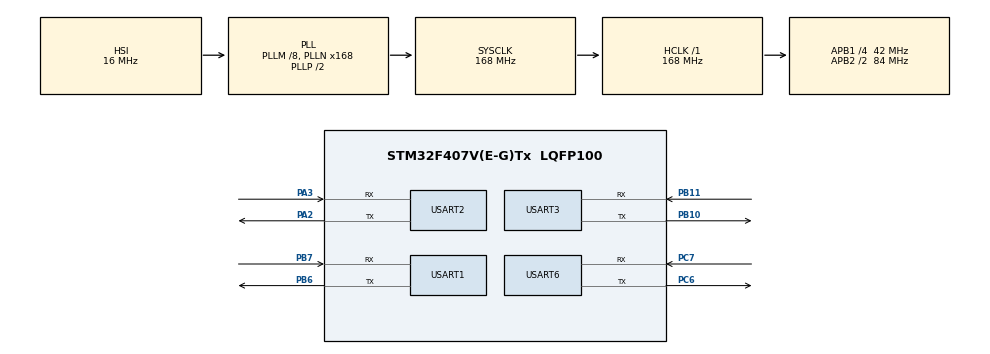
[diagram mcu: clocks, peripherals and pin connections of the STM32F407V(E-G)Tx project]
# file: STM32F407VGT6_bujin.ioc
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FREERTOS.Tasks01=defaultTask,24,128,StartDefaultTask,Default,NULL,Dynamic,NULL,NULL
Mcu.Family=STM32F4
Mcu.Name=STM32F407V(E-G)Tx
Mcu.Package=LQFP100
NVIC.PriorityGroup=NVIC_PRIORITYGROUP_4
NVIC.USART1_IRQn=true\:5\:0\:false\:false\:true\:true\:true\:true\:true
NVIC.USART2_IRQn=true\:5\:0\:false\:false\:true\:true\:true\:true\:true
NVIC.USART3_IRQn=true\:5\:0\:false\:false\:true\:true\:true\:true\:true
NVIC.USART6_IRQn=true\:5\:0\:false\:false\:true\:true\:true\:true\:true
PA13.Mode=Serial_Wire
PA13.Signal=SYS_JTMS-SWDIO
PA14.Mode=Serial_Wire
PA14.Signal=SYS_JTCK-SWCLK
PA2.Mode=Asynchronous
PA2.Signal=USART2_TX
PA3.Mode=Asynchronous
PA3.Signal=USART2_RX
PB10.Mode=Asynchronous
PB10.Signal=USART3_TX
PB11.Mode=Asynchronous
PB11.Signal=USART3_RX
PB6.Mode=Asynchronous
PB6.Signal=USART1_TX
PB7.Mode=Asynchronous
PB7.Signal=USART1_RX
PC14-OSC32_IN.Mode=LSE-External-Oscillator
PC14-OSC32_IN.Signal=RCC_OSC32_IN
PC15-OSC32_OUT.Mode=LSE-External-Oscillator
PC15-OSC32_OUT.Signal=RCC_OSC32_OUT
PC6.Mode=Asynchronous
PC6.Signal=USART6_TX
PC7.Mode=Asynchronous
PC7.Signal=USART6_RX
PH0-OSC_IN.Mode=HSE-External-Oscillator
PH0-OSC_IN.Signal=RCC_OSC_IN
PH1-OSC_OUT.Mode=HSE-External-Oscillator
PH1-OSC_OUT.Signal=RCC_OSC_OUT
ProjectManager.HeapSize=0x200
ProjectManager.StackSize=0x400
ProjectManager.TargetToolchain=MDK-ARM V5.32
RCC.48MHZClocksFreq_Value=84000000
RCC.AHBFreq_Value=168000000
RCC.APB1CLKDivider=RCC_HCLK_DIV4
RCC.APB1Freq_Value=42000000
RCC.APB1TimFreq_Value=84000000
RCC.APB2CLKDivider=RCC_HCLK_DIV2
RCC.APB2Freq_Value=84000000
RCC.APB2TimFreq_Value=168000000
RCC.CortexFreq_Value=168000000
RCC.HCLKFreq_Value=168000000
RCC.HSE_VALUE=25000000
RCC.HSI_VALUE=16000000
RCC.PLLM=8
RCC.PLLN=168
RCC.SYSCLKFreq_VALUE=168000000
RCC.SYSCLKSource=RCC_SYSCLKSOURCE_PLLCLK
RCC.VCOOutputFreq_Value=336000000
USART1.VirtualMode=VM_ASYNC
USART2.VirtualMode=VM_ASYNC
USART3.VirtualMode=VM_ASYNC
USART6.VirtualMode=VM_ASYNC
VP_FREERTOS_VS_CMSIS_V2.Mode=CMSIS_V2
board=custom

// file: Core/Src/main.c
/* USER CODE BEGIN Header */
/**
  ******************************************************************************
  * @file           : main.c
  * @brief          : Main program body
  ******************************************************************************
  * @attention
  *
  * Copyright (c) 2025 STMicroelectronics.
  * All rights reserved.
  *
  * This software is licensed under terms that can be found in the LICENSE file
  * in the root directory of this software component.
  * If no LICENSE file comes with this software, it is provided AS-IS.
  *
  ******************************************************************************
  */
/* USER CODE END Header */
#include "main.h"
#include "cmsis_os.h"
#include "usart.h"
#include "gpio.h"

/* USER CODE BEGIN Includes */

#include "Emm_V5.h"
#include "task.h"
#include "semphr.h"
#include <stdio.h>
#include "FreeRTOS.h"
#include "config.h"
#include "usart.h"

/* USER CODE END Includes */

/* USER CODE BEGIN PV */

// 为每个串口创建独立的接收资源
// USART2
SemaphoreHandle_t uart2_rx_sem = NULL;
uint8_t uart2_rx_buffer[UART_RX_BUFFER_SIZE];
volatile uint16_t uart2_rx_len = 0;

// USART3
SemaphoreHandle_t uart3_rx_sem = NULL;
uint8_t uart3_rx_buffer[UART_RX_BUFFER_SIZE];
volatile uint16_t uart3_rx_len = 0;

// USART6 - 上位机数据接收
SemaphoreHandle_t uart6_rx_sem = NULL;
uint8_t uart6_rx_buffer[UART_RX_BUFFER_SIZE];
volatile uint16_t uart6_rx_len = 0;

/* USER CODE END PV */

void SystemClock_Config(void);
void MX_FREERTOS_Init(void);

/* USER CODE BEGIN PFP */
//static void MX_USART3_UART_Init(void);
//static void MX_USART2_UART_Init(void);
/* USER CODE END PFP */

int main(void)
{

  /* MCU Configuration--------------------------------------------------------*/

  /* Reset of all peripherals, Initializes the Flash interface and the Systick. */
  HAL_Init();

  /* Configure the system clock */
  SystemClock_Config();

  /* Initialize all configured peripherals */
  MX_GPIO_Init();
  MX_USART2_UART_Init();
  MX_USART3_UART_Init();
  MX_USART1_UART_Init();
  MX_USART6_UART_Init();
  /* USER CODE BEGIN 2 */

	// 创建信号量
	uart2_rx_sem = xSemaphoreCreateBinary();
	uart3_rx_sem = xSemaphoreCreateBinary();
	uart6_rx_sem = xSemaphoreCreateBinary();

	// 初始化串口接收状态
	HAL_UART_Abort(&huart2);
	HAL_UART_Abort(&huart3);
	HAL_UART_Abort(&huart6);

	// 启用空闲中断
	__HAL_UART_ENABLE_IT(&huart2, UART_IT_IDLE);
	__HAL_UART_ENABLE_IT(&huart3, UART_IT_IDLE);
	__HAL_UART_ENABLE_IT(&huart6, UART_IT_IDLE);

	// 启动接收
	HAL_UART_Receive_IT(&huart2, uart2_rx_buffer, UART_RX_BUFFER_SIZE);
	HAL_UART_Receive_IT(&huart3, uart3_rx_buffer, UART_RX_BUFFER_SIZE);
	HAL_UART_Receive_IT(&huart6, uart6_rx_buffer, UART_RX_BUFFER_SIZE);

	// 创建任务
extern void StartMovement(void);
StartMovement();

  /* USER CODE END 2 */

  /* Init scheduler */
  osKernelInitialize();  /* Call init function for freertos objects (in cmsis_os2.c) */
  MX_FREERTOS_Init();

  /* Start scheduler */
  osKernelStart();

  /* We should never get here as control is now taken by the scheduler */

  /* Infinite loop */
  while (1)
  {

  }
}

void SystemClock_Config(void)
{
  RCC_OscInitTypeDef RCC_OscInitStruct = {0};
  RCC_ClkInitTypeDef RCC_ClkInitStruct = {0};

  /** Configure the main internal regulator output voltage
  */
  __HAL_RCC_PWR_CLK_ENABLE();
  __HAL_PWR_VOLTAGESCALING_CONFIG(PWR_REGULATOR_VOLTAGE_SCALE1);

  /** Initializes the RCC Oscillators according to the specified parameters
  * in the RCC_OscInitTypeDef structure.
  */
  RCC_OscInitStruct.OscillatorType = RCC_OSCILLATORTYPE_HSI;
  RCC_OscInitStruct.HSIState = RCC_HSI_ON;
  RCC_OscInitStruct.HSICalibrationValue = RCC_HSICALIBRATION_DEFAULT;
  RCC_OscInitStruct.PLL.PLLState = RCC_PLL_ON;
  RCC_OscInitStruct.PLL.PLLSource = RCC_PLLSOURCE_HSI;
  RCC_OscInitStruct.PLL.PLLM = 8;
  RCC_OscInitStruct.PLL.PLLN = 168;
  RCC_OscInitStruct.PLL.PLLP = RCC_PLLP_DIV2;
  RCC_OscInitStruct.PLL.PLLQ = 4;
  if (HAL_RCC_OscConfig(&RCC_OscInitStruct) != HAL_OK)
  {
    Error_Handler();
  }

  /** Initializes the CPU, AHB and APB buses clocks
  */
  RCC_ClkInitStruct.ClockType = RCC_CLOCKTYPE_HCLK|RCC_CLOCKTYPE_SYSCLK
                              |RCC_CLOCKTYPE_PCLK1|RCC_CLOCKTYPE_PCLK2;
  RCC_ClkInitStruct.SYSCLKSource = RCC_SYSCLKSOURCE_PLLCLK;
  RCC_ClkInitStruct.AHBCLKDivider = RCC_SYSCLK_DIV1;
  RCC_ClkInitStruct.APB1CLKDivider = RCC_HCLK_DIV4;
  RCC_ClkInitStruct.APB2CLKDivider = RCC_HCLK_DIV2;

  if (HAL_RCC_ClockConfig(&RCC_ClkInitStruct, FLASH_LATENCY_5) != HAL_OK)
  {
    Error_Handler();
  }
}

void Error_Handler(void)
{
  __disable_irq();
  while (1)
  {
  }
}

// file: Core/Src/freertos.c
/* USER CODE BEGIN Header */
/**
  ******************************************************************************
  * File Name          : freertos.c
  * Description        : Code for freertos applications
  ******************************************************************************
  * @attention
  *
  * Copyright (c) 2025 STMicroelectronics.
  * All rights reserved.
  *
  * This software is licensed under terms that can be found in the LICENSE file
  * in the root directory of this software component.
  * If no LICENSE file comes with this software, it is provided AS-IS.
  *
  ******************************************************************************
  */
/* USER CODE END Header */

#include "FreeRTOS.h"
#include "task.h"
#include "main.h"
#include "cmsis_os.h"

/* USER CODE BEGIN Includes */

#include "config.h"
#include "semphr.h"
#include <stdlib.h>
#include <math.h>
#include "stm32f4xx_hal.h"
#include <string.h>
#include <stm32f4xx_it.h>
#include "Emm_V5.h"
#include "usart.h"

// 为每个串口创建独立的接收资源
// USART2
extern SemaphoreHandle_t uart2_rx_sem;
extern uint8_t uart2_rx_buffer[UART_RX_BUFFER_SIZE];
extern volatile uint16_t uart2_rx_len;

// USART3
extern SemaphoreHandle_t uart3_rx_sem;
extern uint8_t uart3_rx_buffer[UART_RX_BUFFER_SIZE];
extern volatile uint16_t uart3_rx_len;

//USART6
extern SemaphoreHandle_t uart6_rx_sem;
extern uint8_t uart6_rx_buffer[UART_RX_BUFFER_SIZE];
extern volatile uint16_t uart6_rx_len;

/* USER CODE END Includes */

/* USER CODE BEGIN Variables */

extern UART_HandleTypeDef huart2;
extern UART_HandleTypeDef huart3;

/* USER CODE END Variables */
/* Definitions for defaultTask */
osThreadId_t defaultTaskHandle;
const osThreadAttr_t defaultTask_attributes = {
  .name = "defaultTask",
  .stack_size = 128 * 4,
  .priority = (osPriority_t) osPriorityNormal,
};

void StartDefaultTask(void *argument);

//void MX_FREERTOS_Init(void); /* (MISRA C 2004 rule 8.1) */

//void MX_FREERTOS_Init(void) {
//  /* USER CODE BEGIN Init */

//  /* USER CODE END Init */

//  /* USER CODE BEGIN RTOS_MUTEX */
//  /* add mutexes, ... */
//  /* USER CODE END RTOS_MUTEX */

//  /* USER CODE BEGIN RTOS_SEMAPHORES */
//  /* add semaphores, ... */
//  /* USER CODE END RTOS_SEMAPHORES */

//  /* USER CODE BEGIN RTOS_TIMERS */
//  /* start timers, add new ones, ... */
//  /* USER CODE END RTOS_TIMERS */

//  /* USER CODE BEGIN RTOS_QUEUES */
//  /* add queues, ... */
//  /* USER CODE END RTOS_QUEUES */

//  /* Create the thread(s) */
//  /* creation of defaultTask */
//  defaultTaskHandle = osThreadNew(StartDefaultTask, NULL, &defaultTask_attributes);

//  /* USER CODE BEGIN RTOS_THREADS */
//  /* add threads, ... */
//  /* USER CODE END RTOS_THREADS */

//  /* USER CODE BEGIN RTOS_EVENTS */
//  /* add events, ... */
//  /* USER CODE END RTOS_EVENTS */

//}

void StartDefaultTask(void *argument)
{
  for(;;)
  {
    osDelay(1);
  }
}

/* USER CODE BEGIN Application */

// 电机控制函数（非阻塞，带信号量）
void SendToLeftMotor(uint8_t dir, uint16_t vel) {
    // 反转左轮方向
    uint8_t corrected_dir = (dir == 0x00) ? 0x01 : 0x00;

    // 发送命令到左电机（USART3）
    Emm_V5_Vel_Control_ZUO(0x01, corrected_dir, vel, 0, false);
}

void SendToRightMotor(uint8_t dir, uint16_t vel) {
    // 反转右轮方向
    uint8_t corrected_dir = (dir == 0x00) ? 0x01 : 0x00;

    // 发送命令到右电机（USART2）
    Emm_V5_Vel_Control_YOU(0x01, corrected_dir, vel, 0, false);
}

void ProcessCommand(uint8_t *buffer, uint16_t len) {
    for (int start = 0; start <= len - 6; start++) {
        if (buffer[start] == 0xAA && buffer[start + 5] == 0x55) {
            uint8_t right_dir = buffer[start + 1];      // 右轮方向
            uint8_t right_speed_val = buffer[start + 2];// 右轮速度值
            uint8_t left_dir = buffer[start + 3];       // 左轮方向
            uint8_t left_speed_val = buffer[start + 4]; // 左轮速度值

            // 验证方向有效性 (0x00=前进, 0x01=后退)
            if ((right_dir != 0x00 && right_dir != 0x01) ||
                (left_dir != 0x00 && left_dir != 0x01))
            {
                continue;
            }

            // 反转右轮方向
            uint8_t corrected_right_dir = (right_dir == 0x00) ? 0x01 : 0x00;

            // 控制左电机 (地址0x01)
            SendToLeftMotor(left_dir, left_speed_val);

            // 控制右电机 (地址0x01) - 使用修正后的方向
            SendToRightMotor(corrected_right_dir, right_speed_val);
        }
    }
}

// USART6 上位机数据处理任务
void Uart6CommandTask(void *argument) {
    uint8_t local_buffer[UART_RX_BUFFER_SIZE];
    uint16_t local_len;

    while(1) {
        if (xSemaphoreTake(uart6_rx_sem, portMAX_DELAY) == pdTRUE) {
            // 1. 复制接收数据到本地缓冲区
            local_len = uart6_rx_len;
            memcpy(local_buffer, uart6_rx_buffer, local_len);

            // 2. 重置接收状态
            uart6_rx_len = 0;
            HAL_UART_Receive_IT(&huart6, uart6_rx_buffer, UART_RX_BUFFER_SIZE);

            // 3. 处理复制的数据
            if (local_len >= 6) {
                ProcessCommand(local_buffer, local_len);
            }
        }
    }
}

void StartMovement(void) {

	// 创建任务
     xTaskCreate(Uart6CommandTask, "Uart6Cmd", 1024, NULL, 5, NULL);

}

void MX_FREERTOS_Init(void) {

	StartMovement();

}

/* USER CODE END Application */
